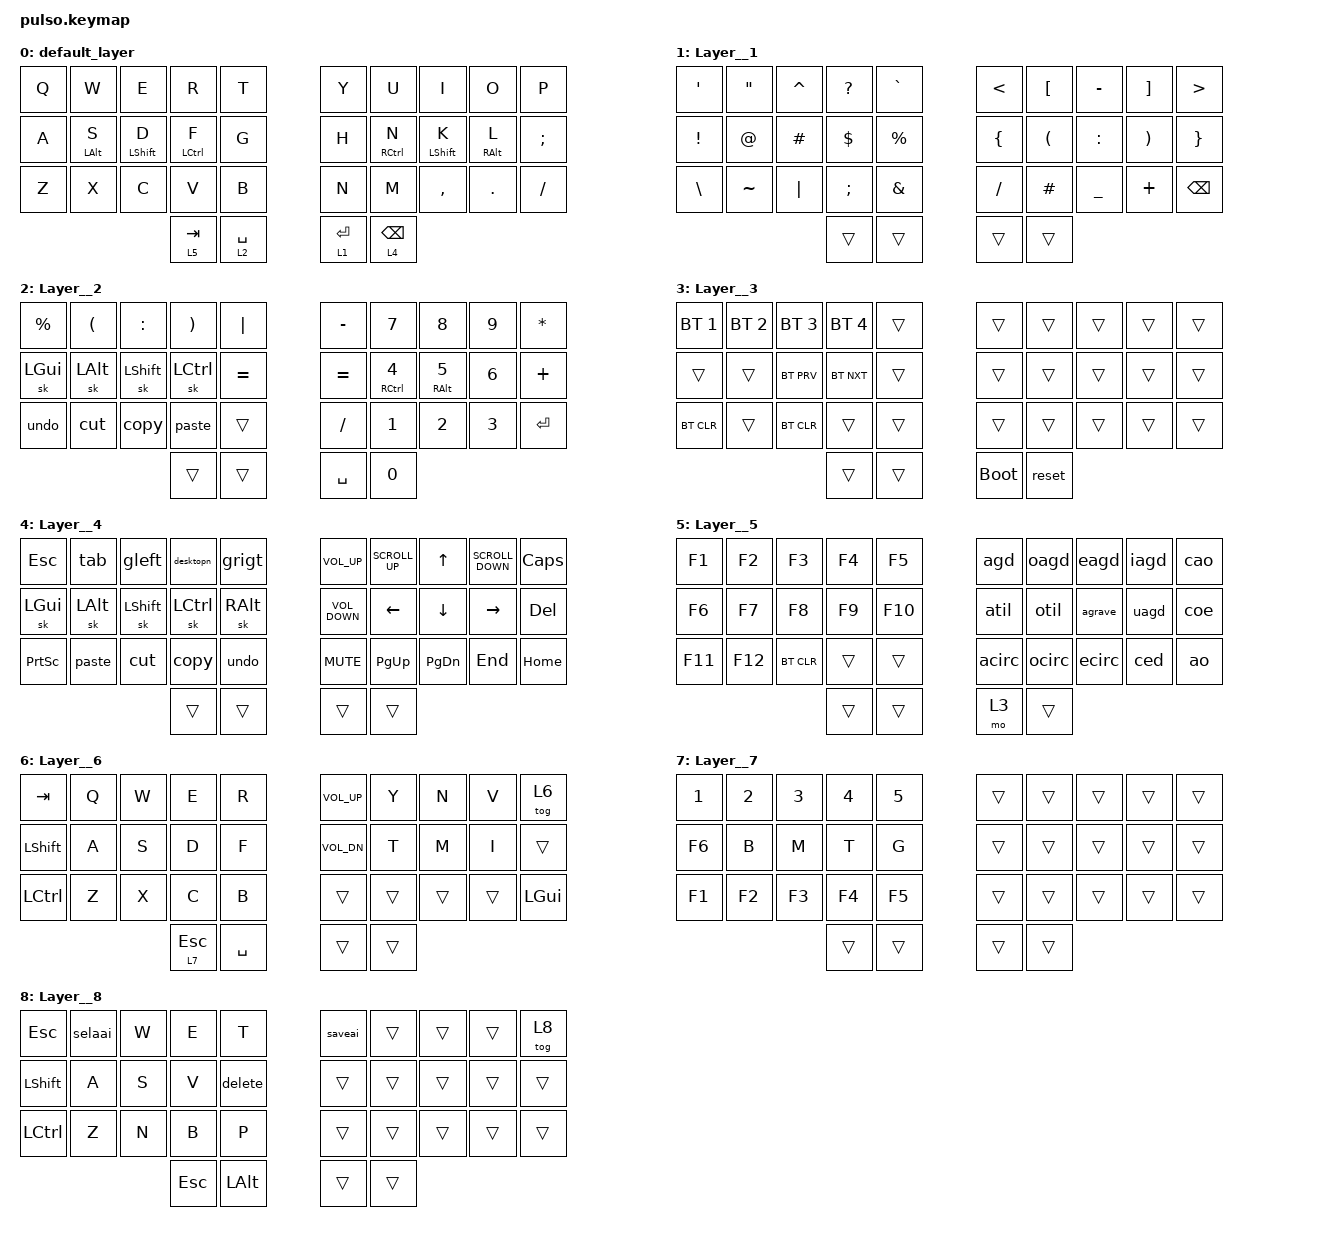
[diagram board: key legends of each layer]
#include <behaviors.dtsi>
#include <dt-bindings/zmk/keys.h>
#include <dt-bindings/zmk/bt.h>
#include <dt-bindings/zmk/outputs.h>

#define BASE 0
#define NAV  1
#define SYM  2
#define ADJ  3

&mt {
  quick-tap-ms = <100>;
  global-quick-tap;
  flavor = "tap-preferred";
  tapping-term-ms = <170>;
};

/ {
    combos {
        compatible = "zmk,combos";

        prtsc_combo {
            bindings = <&kp PRINTSCREEN>;
            key-positions = <5 4>;
        };

        close {
            bindings = <&close>;
            key-positions = <0 1 2 3>;
        };

        lg {
            bindings = <&kp LGUI>;
            key-positions = <20 21>;
        };

        rg {
            bindings = <&kp RGUI>;
            key-positions = <28 29>;
        };

        caps {
            bindings = <&caps_word>;
            key-positions = <21 22 23>;
        };

        config {
            bindings = <&mo 3>;
            key-positions = <30 31>;
        };

        game {
            bindings = <&tog 6>;
            key-positions = <12 13 31>;
        };

        esc {
            bindings = <&kp ESC>;
            key-positions = <11 12 13>;
        };

        spc {
            bindings = <&kp BSPC>;
            key-positions = <8 7>;
        };

        del {
            bindings = <&kp DEL>;
            key-positions = <8 9>;
        };

        minus {
            bindings = <&kp MINUS>;
            key-positions = <27 26>;
        };

        rest {
            bindings = <&reset>;
            key-positions = <0 10 20>;
        };

        arte {
            bindings = <&tog 8>;
            key-positions = <16 17 33>;
        };
    };

    macros {
        copy: copy {
            compatible = "zmk,behavior-macro";
            label = "copy_macro";
            #binding-cells = <0>;
            bindings =
                <&macro_press>,
                <&kp RCTRL>,
                <&macro_tap>,
                <&kp C>,
                <&macro_release>,
                <&kp RCTRL>;
        };
        paste: paste {
            compatible = "zmk,behavior-macro";
            label = "paste_macro";
            #binding-cells = <0>;
            bindings =
                <&macro_press>,
                <&kp RCTRL>,
                <&macro_tap>,
                <&kp V>,
                <&macro_release>,
                <&kp RCTRL>;
        };
        cut: cut {
            compatible = "zmk,behavior-macro";
            label = "cut_macro";
            #binding-cells = <0>;
            bindings =
                <&macro_press>,
                <&kp RCTRL>,
                <&macro_tap>,
                <&kp X>,
                <&macro_release>,
                <&kp RCTRL>;
        };
        undo: undo {
            compatible = "zmk,behavior-macro";
            label = "undo_macro";
            #binding-cells = <0>;
            bindings =
                <&macro_press>,
                <&kp RCTRL>,
                <&macro_tap>,
                <&kp Z>,
                <&macro_release>,
                <&kp RCTRL>;
        };
        tab: tab {
            compatible = "zmk,behavior-macro";
            label = "tab_macro";
            #binding-cells = <0>;
            bindings =
                <&macro_press>,
                <&kp RIGHT_ALT>,
                <&macro_tap>,
                <&kp TAB>,
                <&macro_release>,
                <&kp RIGHT_ALT>;
        };
        ced: ced {
            compatible = "zmk,behavior-macro";
            label = "new_macro";
            #binding-cells = <0>;
            bindings =
                <&macro_press>,
                <&kp RALT>,
                <&macro_tap>,
                <&kp COMMA>,
                <&macro_release>,
                <&kp RALT>;
        };
        eagd: eagd {
            compatible = "zmk,behavior-macro";
            label = "new_macro";
            #binding-cells = <0>;
            bindings =
                <&macro_press>,
                <&kp RALT>,
                <&macro_tap>,
                <&kp E>,
                <&macro_release>,
                <&kp RALT>;
        };
        agd: agd {
            compatible = "zmk,behavior-macro";
            label = "new_macro";
            #binding-cells = <0>;
            bindings =
                <&macro_press>,
                <&kp RALT>,
                <&macro_tap>,
                <&kp A>,
                <&macro_release>,
                <&kp RALT>;
        };
        oagd: oagd {
            compatible = "zmk,behavior-macro";
            label = "new_macro";
            #binding-cells = <0>;
            bindings =
                <&macro_press>,
                <&kp RALT>,
                <&macro_tap>,
                <&kp O>,
                <&macro_press>,
                <&kp RALT>;
        };
        uagd: uagd {
            compatible = "zmk,behavior-macro";
            label = "new_macro";
            #binding-cells = <0>;
            bindings =
                <&macro_press>,
                <&kp RALT>,
                <&macro_tap>,
                <&kp U>,
                <&macro_release>,
                <&kp RALT>;
        };
        iagd: iagd {
            compatible = "zmk,behavior-macro";
            label = "new_macro";
            #binding-cells = <0>;
            bindings =
                <&macro_press>,
                <&kp RALT>,
                <&macro_tap>,
                <&kp I>,
                <&macro_release>,
                <&kp RALT>;
        };
        atil: atil {
            compatible = "zmk,behavior-macro";
            label = "new_macro";
            #binding-cells = <0>;
            bindings =
                <&macro_tap>,
                <&kp TILDE>,
                <&macro_tap>,
                <&kp A>;
        };
        otil: otil {
            compatible = "zmk,behavior-macro";
            label = "new_macro";
            #binding-cells = <0>;
            bindings =
                <&macro_tap>,
                <&kp TILDE>,
                <&macro_tap>,
                <&kp O>;
        };
        ecirc: ecirc {
            compatible = "zmk,behavior-macro";
            label = "new_macro";
            #binding-cells = <0>;
            bindings =
                <&macro_tap>,
                <&kp CARET>,
                <&macro_tap>,
                <&kp E>;
        };
        ocirc: ocirc {
            compatible = "zmk,behavior-macro";
            label = "new_macro";
            #binding-cells = <0>;
            bindings =
                <&macro_tap>,
                <&kp CARET>,
                <&macro_tap>,
                <&kp O>;
        };
        acirc: acirc {
            compatible = "zmk,behavior-macro";
            label = "new_macro";
            #binding-cells = <0>;
            bindings =
                <&macro_tap>,
                <&kp CARET>,
                <&macro_tap>,
                <&kp A>;
        };
        agrave: agrave {
            compatible = "zmk,behavior-macro";
            label = "new_macro";
            #binding-cells = <0>;
            bindings =
                <&macro_tap>,
                <&kp GRAVE>,
                <&macro_tap>,
                <&kp A>;
        };
        cao: cao {
            compatible = "zmk,behavior-macro";
            label = "new_macro";
            #binding-cells = <0>;
            bindings =
                <&macro_tap>,
                <&ced>,
                <&macro_tap>,
                <&atil>,
                <&macro_tap>,
                <&kp O>;
        };
        coe: coe {
            compatible = "zmk,behavior-macro";
            label = "new_macro";
            #binding-cells = <0>;
            bindings =
                <&macro_tap>,
                <&ced>,
                <&macro_tap>,
                <&otil>,
                <&macro_tap>,
                <&kp E>;
        };
        desktopn: desktopn {
            compatible = "zmk,behavior-macro";
            label = "new_macro";
            #binding-cells = <0>;
            bindings =
                <&macro_press>,
                <&kp LEFT_GUI>,
                <&macro_press>,
                <&kp LCTRL>,
                <&macro_tap>,
                <&kp D>,
                <&macro_release>,
                <&kp LEFT_GUI &kp LCTRL>;
        };
        gleft: gleft {
            compatible = "zmk,behavior-macro";
            label = "new_macro";
            #binding-cells = <0>;
            bindings =
                <&macro_press>,
                <&kp LGUI>,
                <&macro_press>,
                <&kp LCTRL>,
                <&macro_tap>,
                <&kp LEFT>,
                <&macro_release>,
                <&kp LGUI &kp LCTRL>;
        };
        grigt: grigt {
            compatible = "zmk,behavior-macro";
            label = "new_macro";
            #binding-cells = <0>;
            bindings =
                <&macro_press>,
                <&kp LGUI>,
                <&macro_press>,
                <&kp LCTRL>,
                <&macro_tap>,
                <&kp RIGHT>,
                <&macro_release>,
                <&kp LGUI &kp LCTRL>;
        };
        close: close {
            compatible = "zmk,behavior-macro";
            label = "new_macro";
            #binding-cells = <0>;
            bindings =
                <&macro_press>,
                <&kp LALT>,
                <&macro_tap>,
                <&kp F4>,
                <&macro_release>,
                <&kp LALT>;
        };
        ao: ao {
            compatible = "zmk,behavior-macro";
            label = "new_macro";
            #binding-cells = <0>;
            bindings =
                <&macro_tap>,
                <&atil>,
                <&macro_tap>,
                <&kp O>;
        };
        saveai: saveai {
            compatible = "zmk,behavior-macro";
            label = "new_macro";
            #binding-cells = <0>;
            bindings =
                <&macro_press>,
                <&kp LSHFT &kp LCTRL &kp LALT>,
                <&macro_tap>,
                <&kp S>,
                <&macro_release>,
                <&kp LSHFT &kp LCTRL &kp LEFT_ALT>;
        };
        selaai: selaai {
            compatible = "zmk,behavior-macro";
            label = "new_macro";
            #binding-cells = <0>;
            bindings =
                <&macro_press>,
                <&kp LCTRL &kp LSHFT>,
                <&macro_tap>,
                <&kp A>,
                <&macro_release>,
                <&kp LCTRL &kp LSHFT>;
        };
        delete: delete {
            compatible = "zmk,behavior-macro";
            label = "new_macro";
            #binding-cells = <0>;
            bindings =
                <&macro_press>,
                <&kp LSHFT>,
                <&macro_tap>,
                <&kp E>,
                <&macro_release>,
                <&kp LSHFT>;
        };
        caneta: caneta {
            compatible = "zmk,behavior-macro";
            label = "new_macro";
            #binding-cells = <0>;
            bindings =
                <&macro_press>,
                <&kp LSHFT>,
                <&macro_tap>,
                <&kp TILDE>,
                <&macro_release>,
                <&kp LSHFT>;
        };
    };

    keymap {
        compatible = "zmk,keymap";

        default_layer {
            bindings = <
  &kp Q           &kp W             &kp E               &kp R        &kp T                &kp Y                &kp U        &kp I            &kp O      &kp P
  &kp A  &mt LEFT_ALT S  &mt LEFT_SHIFT D  &mt LEFT_CONTROL F        &kp G                &kp H  &mt RIGHT_CONTROL N  &mt LSHFT K  &mt RIGHT_ALT L   &kp SEMI
  &kp Z           &kp X             &kp C               &kp V        &kp B                &kp N                &kp M    &kp COMMA          &kp DOT  &kp SLASH
                                                    &lt 5 TAB  &lt 2 SPACE          &lt 1 ENTER      &lt 4 BACKSPACE
            >;
        };

        Layer__1 {
            bindings = <
 &kp SINGLE_QUOTE  &kp DOUBLE_QUOTES  &kp CARET  &kp QUESTION    &kp GRAVE             &kp LT  &kp LBKT       &kp MINUS      &kp RIGHT_BRACKET         &kp GT
         &kp EXCL             &kp AT   &kp HASH    &kp DOLLAR  &kp PERCENT           &kp LBRC  &kp LPAR       &kp COLON  &kp RIGHT_PARENTHESIS       &kp RBRC
    &kp BACKSLASH          &kp TILDE   &kp PIPE      &kp SEMI     &kp AMPS          &kp SLASH  &kp HASH  &kp UNDERSCORE               &kp PLUS  &kp BACKSPACE
                                                       &trans       &trans             &trans    &trans
            >;
        };

        Layer__2 {
            bindings = <
    &kp PRCNT  &kp LEFT_PARENTHESIS  &kp COLON  &kp RIGHT_PARENTHESIS   &kp PIPE          &kp MINUS  &kp NUMBER_7  &kp NUMBER_8  &kp NUMBER_9  &kp ASTRK
 &sk LEFT_GUI          &sk LEFT_ALT  &sk LSHFT              &sk LCTRL  &kp EQUAL          &kp EQUAL  &mt RCTRL N4   &mt RALT N5  &kp NUMBER_6   &kp PLUS
        &undo                  &cut      &copy                 &paste     &trans          &kp SLASH  &kp NUMBER_1  &kp NUMBER_2  &kp NUMBER_3  &kp ENTER
                                                               &trans     &trans          &kp SPACE  &kp NUMBER_0
            >;
        };

        Layer__3 {
            bindings = <
 &bt BT_SEL 1  &bt BT_SEL 2  &bt BT_SEL 3  &bt BT_SEL 4  &trans               &trans  &trans  &trans  &trans  &trans
       &trans        &trans    &bt BT_PRV    &bt BT_NXT  &trans               &trans  &trans  &trans  &trans  &trans
   &bt BT_CLR        &trans    &bt BT_CLR        &trans  &trans               &trans  &trans  &trans  &trans  &trans
                                                 &trans  &trans          &bootloader  &reset
            >;
        };

        Layer__4 {
            bindings = <
         &kp ESC          &tab     &gleft  &desktopn    &grigt            &kp C_VOLUME_UP  &kp K_SCROLL_UP     &kp UP  &kp K_SCROLL_DOWN  &kp CAPS
    &sk LEFT_GUI  &sk LEFT_ALT  &sk LSHFT  &sk LCTRL  &sk RALT          &kp C_VOLUME_DOWN         &kp LEFT   &kp DOWN          &kp RIGHT   &kp DEL
 &kp PRINTSCREEN        &paste       &cut      &copy     &undo                 &kp K_MUTE        &kp PG_UP  &kp PG_DN            &kp END  &kp HOME
                                              &trans    &trans                     &trans           &trans
            >;
        };

        Layer__5 {
            bindings = <
  &kp F1   &kp F2      &kp F3  &kp F4   &kp F5            &agd   &oagd    &eagd   &iagd    &cao
  &kp F6   &kp F7      &kp F8  &kp F9  &kp F10           &atil   &otil  &agrave   &uagd    &coe
 &kp F11  &kp F12  &bt BT_CLR  &trans   &trans          &acirc  &ocirc   &ecirc    &ced     &ao
                               &trans   &trans           &mo 3  &trans
            >;
        };

        Layer__6 {
            bindings = <
   &kp TAB   &kp Q   &kp W      &kp E      &kp R          &kp C_VOL_UP   &kp Y   &kp N   &kp V    &tog 6
 &kp LSHFT   &kp A   &kp S      &kp D      &kp F          &kp C_VOL_DN   &kp T   &kp M   &kp I    &trans
 &kp LCTRL   &kp Z   &kp X      &kp C      &kp B                &trans  &trans  &trans  &trans  &kp LGUI
                            &lt 7 ESC  &kp SPACE                &trans  &trans
            >;
        };

        Layer__7 {
            bindings = <
 &kp NUMBER_1  &kp NUMBER_2  &kp NUMBER_3  &kp NUMBER_4  &kp NUMBER_5          &trans  &trans  &trans  &trans  &trans
       &kp F6         &kp B         &kp M         &kp T         &kp G          &trans  &trans  &trans  &trans  &trans
       &kp F1        &kp F2        &kp F3        &kp F4        &kp F5          &trans  &trans  &trans  &trans  &trans
                                                 &trans        &trans          &trans  &trans
            >;
        };

        Layer__8 {
            bindings = <
   &kp ESC  &selaai   &kp W    &kp E     &kp T          &saveai  &trans  &trans  &trans  &tog 8
 &kp LSHFT    &kp A   &kp S    &kp V   &delete           &trans  &trans  &trans  &trans  &trans
 &kp LCTRL    &kp Z   &kp N    &kp B     &kp P           &trans  &trans  &trans  &trans  &trans
                             &kp ESC  &kp LALT           &trans  &trans
            >;
        };
    };
};
